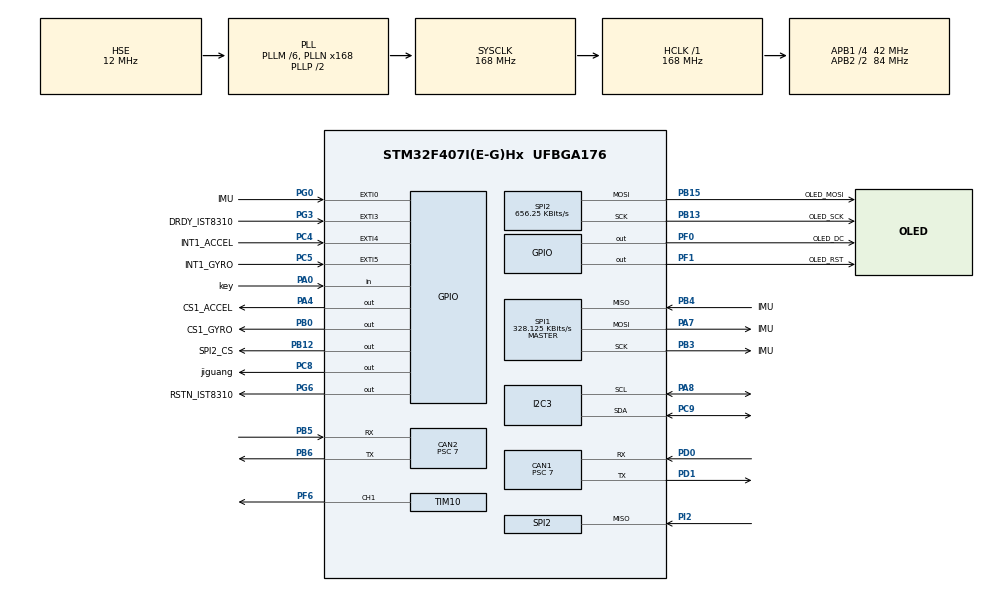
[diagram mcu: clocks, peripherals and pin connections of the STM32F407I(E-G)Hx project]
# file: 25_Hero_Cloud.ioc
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CAN1.ABOM=ENABLE
CAN1.AWUM=ENABLE
CAN1.BS1=CAN_BS1_3TQ
CAN1.BS2=CAN_BS2_2TQ
CAN1.CalculateBaudRate=999999
CAN1.CalculateTimeBit=1000
CAN1.CalculateTimeQuantum=166.66666666666669
CAN1.NART=ENABLE
CAN1.Prescaler=7
CAN2.ABOM=ENABLE
CAN2.AWUM=ENABLE
CAN2.BS1=CAN_BS1_3TQ
CAN2.BS2=CAN_BS2_2TQ
CAN2.CalculateBaudRate=999999
CAN2.CalculateTimeBit=1000
CAN2.CalculateTimeQuantum=166.66666666666669
CAN2.NART=ENABLE
CAN2.Prescaler=7
Dma.Request0=SPI1_RX
Dma.Request1=SPI1_TX
Dma.SPI1_RX.0.Direction=DMA_PERIPH_TO_MEMORY
Dma.SPI1_RX.0.FIFOMode=DMA_FIFOMODE_DISABLE
Dma.SPI1_RX.0.Instance=DMA2_Stream2
Dma.SPI1_RX.0.MemDataAlignment=DMA_MDATAALIGN_BYTE
Dma.SPI1_RX.0.MemInc=DMA_MINC_ENABLE
Dma.SPI1_RX.0.Mode=DMA_NORMAL
Dma.SPI1_RX.0.PeriphDataAlignment=DMA_PDATAALIGN_BYTE
Dma.SPI1_RX.0.PeriphInc=DMA_PINC_DISABLE
Dma.SPI1_RX.0.Priority=DMA_PRIORITY_LOW
Dma.SPI1_TX.1.Direction=DMA_MEMORY_TO_PERIPH
Dma.SPI1_TX.1.FIFOMode=DMA_FIFOMODE_DISABLE
Dma.SPI1_TX.1.Instance=DMA2_Stream3
Dma.SPI1_TX.1.MemDataAlignment=DMA_MDATAALIGN_BYTE
Dma.SPI1_TX.1.MemInc=DMA_MINC_ENABLE
Dma.SPI1_TX.1.Mode=DMA_NORMAL
Dma.SPI1_TX.1.PeriphDataAlignment=DMA_PDATAALIGN_BYTE
Dma.SPI1_TX.1.PeriphInc=DMA_PINC_DISABLE
Dma.SPI1_TX.1.Priority=DMA_PRIORITY_LOW
FREERTOS.INCLUDE_vTaskDelayUntil=1
FREERTOS.INCLUDE_xTaskGetCurrentTaskHandle=0
FREERTOS.INCLUDE_xTaskGetHandle=1
FREERTOS.Queues01=CAN1_Receive,64,Can_Export_Data_t,0,Dynamic,NULL,NULL;CAN2_Receive,64,Can_Export_Data_t,0,Dynamic,NULL,NULL
FREERTOS.Tasks01=All_Init,0,128,All_Init_Run,Default,NULL,Dynamic,NULL,NULL;CAN1_Task,2,256,CAN1_REC,As external,NULL,Dynamic,NULL,NULL;CAN2_Task,2,256,CAN2_REC,As external,NULL,Dynamic,NULL,NULL;IMU_Send_Task,2,128,IMU_Send,As external,NULL,Dynamic,NULL,NULL;Cali_Task,1,512,calibrate_task,As external,NULL,Dynamic,NULL,NULL;Imu_Task,3,1024,INS_task,As external,NULL,Dynamic,NULL,NULL;OLED_Task,-1,128,OLED_Show,As external,NULL,Dynamic,NULL,NULL;Check_Task,0,256,DEV_Check,As external,NULL,Dynamic,NULL,NULL;Robot_Ctrl_Task,3,512,Robot_Control,As external,NULL,Dynamic,NULL,NULL
FREERTOS.configTOTAL_HEAP_SIZE=23456
FREERTOS.configUSE_CO_ROUTINES=0
FREERTOS.configUSE_TIMERS=1
I2C3.I2C_Mode=I2C_Fast
Mcu.Family=STM32F4
Mcu.Name=STM32F407I(E-G)Hx
Mcu.Package=UFBGA176
NVIC.CAN1_RX0_IRQn=true\:5\:0\:false\:false\:true\:true\:true\:true\:true
NVIC.CAN2_RX0_IRQn=true\:5\:0\:false\:false\:true\:true\:true\:true\:true
NVIC.DMA2_Stream2_IRQn=true\:0\:0\:false\:false\:true\:false\:false\:true\:true
NVIC.DMA2_Stream3_IRQn=true\:5\:0\:false\:false\:true\:true\:false\:true\:true
NVIC.EXTI0_IRQn=true\:6\:0\:true\:false\:true\:false\:true\:true\:true
NVIC.EXTI3_IRQn=true\:5\:0\:true\:false\:true\:false\:true\:true\:true
NVIC.EXTI4_IRQn=true\:5\:0\:true\:false\:true\:false\:true\:true\:true
NVIC.EXTI9_5_IRQn=true\:5\:0\:true\:false\:true\:false\:true\:true\:true
NVIC.PriorityGroup=NVIC_PRIORITYGROUP_4
NVIC.TIM6_DAC_IRQn=true\:15\:0\:false\:false\:true\:false\:false\:true\:true
NVIC.TimeBase=TIM6_DAC_IRQn
NVIC.TimeBaseIP=TIM6
PA0-WKUP.GPIO_Label=key
PA0-WKUP.GPIO_PuPd=GPIO_PULLUP
PA0-WKUP.Signal=GPIO_Input
PA13.Mode=Serial_Wire
PA13.Signal=SYS_JTMS-SWDIO
PA14.Mode=Serial_Wire
PA14.Signal=SYS_JTCK-SWCLK
PA4.GPIO_Label=CS1_ACCEL
PA4.GPIO_PuPd=GPIO_PULLUP
PA4.GPIO_Speed=GPIO_SPEED_FREQ_VERY_HIGH
PA4.Signal=GPIO_Output
PA7.GPIO_Label=IMU
PA7.Mode=Full_Duplex_Master
PA7.Signal=SPI1_MOSI
PA8.Mode=I2C
PA8.Signal=I2C3_SCL
PB0.GPIO_Label=CS1_GYRO
PB0.GPIO_PuPd=GPIO_PULLUP
PB0.GPIO_Speed=GPIO_SPEED_FREQ_VERY_HIGH
PB0.Signal=GPIO_Output
PB12.GPIO_Label=SPI2_CS
PB12.GPIO_PuPd=GPIO_PULLUP
PB12.GPIO_Speed=GPIO_SPEED_FREQ_VERY_HIGH
PB12.Signal=GPIO_Output
PB13.GPIO_Label=OLED_SCK
PB13.Mode=Full_Duplex_Master
PB13.Signal=SPI2_SCK
PB15.GPIO_Label=OLED_MOSI
PB15.Mode=Full_Duplex_Master
PB15.Signal=SPI2_MOSI
PB3.GPIO_Label=IMU
PB3.Mode=Full_Duplex_Master
PB3.Signal=SPI1_SCK
PB4.GPIO_Label=IMU
PB4.Mode=Full_Duplex_Master
PB4.Signal=SPI1_MISO
PB5.Mode=CAN_Activate
PB5.Signal=CAN2_RX
PB6.Mode=CAN_Activate
PB6.Signal=CAN2_TX
PC4.GPIO_Label=INT1_ACCEL
PC4.GPIO_PuPd=GPIO_PULLUP
PC4.Signal=GPXTI4
PC5.GPIO_Label=INT1_GYRO
PC5.GPIO_PuPd=GPIO_PULLUP
PC5.Signal=GPXTI5
PC8.GPIO_Label=jiguang
PC8.GPIO_PuPd=GPIO_PULLUP
PC8.GPIO_Speed=GPIO_SPEED_FREQ_VERY_HIGH
PC8.Signal=GPIO_Output
PC9.Mode=I2C
PC9.Signal=I2C3_SDA
PD0.Mode=CAN_Activate
PD0.Signal=CAN1_RX
PD1.Mode=CAN_Activate
PD1.Signal=CAN1_TX
PF0.GPIO_Label=OLED_DC
PF0.GPIO_Speed=GPIO_SPEED_FREQ_VERY_HIGH
PF0.Signal=GPIO_Output
PF1.GPIO_Label=OLED_RST
PF1.Signal=GPIO_Output
PF6.GPIO_PuPd=GPIO_PULLUP
PF6.GPIO_Speed=GPIO_SPEED_FREQ_HIGH
PF6.Signal=S_TIM10_CH1
PG0.GPIO_Label=IMU
PG0.GPIO_PuPd=GPIO_PULLUP
PG0.Signal=GPXTI0
PG3.GPIO_Label=DRDY_IST8310
PG3.GPIO_PuPd=GPIO_PULLUP
PG3.Signal=GPXTI3
PG6.GPIO_Label=RSTN_IST8310
PG6.GPIO_PuPd=GPIO_PULLUP
PG6.GPIO_Speed=GPIO_SPEED_FREQ_VERY_HIGH
PG6.Signal=GPIO_Output
PH0-OSC_IN.Mode=HSE-External-Oscillator
PH0-OSC_IN.Signal=RCC_OSC_IN
PH1-OSC_OUT.Mode=HSE-External-Oscillator
PH1-OSC_OUT.Signal=RCC_OSC_OUT
PI2.Mode=Full_Duplex_Master
PI2.Signal=SPI2_MISO
ProjectManager.HeapSize=0x2000
ProjectManager.StackSize=0x2000
ProjectManager.TargetToolchain=MDK-ARM V5.32
RCC.48MHZClocksFreq_Value=84000000
RCC.AHBFreq_Value=168000000
RCC.APB1CLKDivider=RCC_HCLK_DIV4
RCC.APB1Freq_Value=42000000
RCC.APB1TimFreq_Value=84000000
RCC.APB2CLKDivider=RCC_HCLK_DIV2
RCC.APB2Freq_Value=84000000
RCC.APB2TimFreq_Value=168000000
RCC.CortexFreq_Value=168000000
RCC.HCLKFreq_Value=168000000
RCC.HSE_VALUE=12000000
RCC.HSI_VALUE=16000000
RCC.LSE_VALUE=32768
RCC.PLLM=6
RCC.PLLN=168
RCC.PLLSourceVirtual=RCC_PLLSOURCE_HSE
RCC.SYSCLKFreq_VALUE=168000000
RCC.SYSCLKSource=RCC_SYSCLKSOURCE_PLLCLK
RCC.VCOOutputFreq_Value=336000000
SH.S_TIM10_CH1.0=TIM10_CH1,PWM Generation1 CH1
SPI1.BaudRatePrescaler=SPI_BAUDRATEPRESCALER_256
SPI1.CLKPhase=SPI_PHASE_2EDGE
SPI1.CalculateBaudRate=328.125 KBits/s
SPI1.Direction=SPI_DIRECTION_2LINES
SPI1.Mode=SPI_MODE_MASTER
SPI1.VirtualType=VM_MASTER
SPI2.BaudRatePrescaler=SPI_BAUDRATEPRESCALER_64
SPI2.CalculateBaudRate=656.25 KBits/s
SPI2.Direction=SPI_DIRECTION_2LINES
SPI2.Mode=SPI_MODE_MASTER
SPI2.VirtualType=VM_MASTER
TIM10.Channel=TIM_CHANNEL_1
TIM10.Period=5000-1
VP_FREERTOS_VS_CMSIS_V1.Mode=CMSIS_V1
VP_SYS_VS_tim6.Mode=TIM6
VP_TIM10_VS_ClockSourceINT.Mode=Enable_Timer
board=custom

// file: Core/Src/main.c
/* USER CODE BEGIN Header */
/**
  ******************************************************************************
  * @file           : main.c
  * @brief          : Main program body
  ******************************************************************************
  * @attention
  *
  * Copyright (c) 2024 STMicroelectronics.
  * All rights reserved.
  *
  * This software is licensed under terms that can be found in the LICENSE file
  * in the root directory of this software component.
  * If no LICENSE file comes with this software, it is provided AS-IS.
  *
  ******************************************************************************
  */
/* USER CODE END Header */
#include "main.h"
#include "cmsis_os.h"
#include "can.h"
#include "dma.h"
#include "i2c.h"
#include "spi.h"
#include "tim.h"
#include "gpio.h"

void SystemClock_Config(void);
void MX_FREERTOS_Init(void);

int main(void)
{

  /* MCU Configuration--------------------------------------------------------*/

  /* Reset of all peripherals, Initializes the Flash interface and the Systick. */
  HAL_Init();

  /* Configure the system clock */
  SystemClock_Config();

  /* Initialize all configured peripherals */
  MX_GPIO_Init();
  MX_DMA_Init();
  MX_CAN1_Init();
  MX_CAN2_Init();
  MX_I2C3_Init();
  MX_SPI1_Init();
  MX_SPI2_Init();
  MX_TIM10_Init();

  /* Call init function for freertos objects (in freertos.c) */
  MX_FREERTOS_Init();

  /* Start scheduler */
  osKernelStart();
  /* We should never get here as control is now taken by the scheduler */
  /* Infinite loop */
  while (1)
  {

  }
}

void SystemClock_Config(void)
{
  RCC_OscInitTypeDef RCC_OscInitStruct = {0};
  RCC_ClkInitTypeDef RCC_ClkInitStruct = {0};

  /** Configure the main internal regulator output voltage
  */
  __HAL_RCC_PWR_CLK_ENABLE();
  __HAL_PWR_VOLTAGESCALING_CONFIG(PWR_REGULATOR_VOLTAGE_SCALE1);

  /** Initializes the RCC Oscillators according to the specified parameters
  * in the RCC_OscInitTypeDef structure.
  */
  RCC_OscInitStruct.OscillatorType = RCC_OSCILLATORTYPE_HSE;
  RCC_OscInitStruct.HSEState = RCC_HSE_ON;
  RCC_OscInitStruct.PLL.PLLState = RCC_PLL_ON;
  RCC_OscInitStruct.PLL.PLLSource = RCC_PLLSOURCE_HSE;
  RCC_OscInitStruct.PLL.PLLM = 6;
  RCC_OscInitStruct.PLL.PLLN = 168;
  RCC_OscInitStruct.PLL.PLLP = RCC_PLLP_DIV2;
  RCC_OscInitStruct.PLL.PLLQ = 4;
  if (HAL_RCC_OscConfig(&RCC_OscInitStruct) != HAL_OK)
  {
    Error_Handler();
  }

  /** Initializes the CPU, AHB and APB buses clocks
  */
  RCC_ClkInitStruct.ClockType = RCC_CLOCKTYPE_HCLK|RCC_CLOCKTYPE_SYSCLK
                              |RCC_CLOCKTYPE_PCLK1|RCC_CLOCKTYPE_PCLK2;
  RCC_ClkInitStruct.SYSCLKSource = RCC_SYSCLKSOURCE_PLLCLK;
  RCC_ClkInitStruct.AHBCLKDivider = RCC_SYSCLK_DIV1;
  RCC_ClkInitStruct.APB1CLKDivider = RCC_HCLK_DIV4;
  RCC_ClkInitStruct.APB2CLKDivider = RCC_HCLK_DIV2;

  if (HAL_RCC_ClockConfig(&RCC_ClkInitStruct, FLASH_LATENCY_5) != HAL_OK)
  {
    Error_Handler();
  }
}

void HAL_TIM_PeriodElapsedCallback(TIM_HandleTypeDef *htim)
{
  if (htim->Instance == TIM6) {
    HAL_IncTick();
  }
}

void Error_Handler(void)
{
  __disable_irq();
  while (1)
  {
  }
}

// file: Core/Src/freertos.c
/* USER CODE BEGIN Header */
/**
  ******************************************************************************
  * File Name          : freertos.c
  * Description        : Code for freertos applications
  ******************************************************************************
  * @attention
  *
  * Copyright (c) 2025 STMicroelectronics.
  * All rights reserved.
  *
  * This software is licensed under terms that can be found in the LICENSE file
  * in the root directory of this software component.
  * If no LICENSE file comes with this software, it is provided AS-IS.
  *
  ******************************************************************************
  */
/* USER CODE END Header */

#include "FreeRTOS.h"
#include "task.h"
#include "main.h"
#include "cmsis_os.h"

/* USER CODE BEGIN Includes */
#include "pid.h"
#include "dr16.h"
#include "M6020_motor.h"
#include "bsp_delay.h"
#include "bsp_can.h"
#include "INS_task.h"
#include "calibrate_task.h"
#include "IMU_Send_task.h"
#include "Task_CanMsg.h"
#include "Robot_control_task.h"
#include "Oled_Show_task.h"
#include "Task_Check.h"
/* USER CODE END Includes */

osThreadId All_InitHandle;
osThreadId CAN1_TaskHandle;
osThreadId CAN2_TaskHandle;
osThreadId IMU_Send_TaskHandle;
osThreadId Cali_TaskHandle;
osThreadId Imu_TaskHandle;
osThreadId OLED_TaskHandle;
osThreadId Check_TaskHandle;
osThreadId Robot_Ctrl_TaskHandle;
osMessageQId CAN1_ReceiveHandle;
osMessageQId CAN2_ReceiveHandle;

void All_Init_Run(void const * argument);
extern void CAN1_REC(void const * argument);
extern void CAN2_REC(void const * argument);
extern void IMU_Send(void const * argument);
extern void calibrate_task(void const * argument);
extern void INS_task(void const * argument);
extern void OLED_Show(void const * argument);
extern void DEV_Check(void const * argument);
extern void Robot_Control(void const * argument);

void MX_FREERTOS_Init(void); /* (MISRA C 2004 rule 8.1) */

/* GetIdleTaskMemory prototype (linked to static allocation support) */
void vApplicationGetIdleTaskMemory( StaticTask_t **ppxIdleTaskTCBBuffer, StackType_t **ppxIdleTaskStackBuffer, uint32_t *pulIdleTaskStackSize );

/* GetTimerTaskMemory prototype (linked to static allocation support) */
void vApplicationGetTimerTaskMemory( StaticTask_t **ppxTimerTaskTCBBuffer, StackType_t **ppxTimerTaskStackBuffer, uint32_t *pulTimerTaskStackSize );

/* USER CODE BEGIN GET_IDLE_TASK_MEMORY */
static StaticTask_t xIdleTaskTCBBuffer;
static StackType_t xIdleStack[configMINIMAL_STACK_SIZE];

void vApplicationGetIdleTaskMemory( StaticTask_t **ppxIdleTaskTCBBuffer, StackType_t **ppxIdleTaskStackBuffer, uint32_t *pulIdleTaskStackSize )
{
  *ppxIdleTaskTCBBuffer = &xIdleTaskTCBBuffer;
  *ppxIdleTaskStackBuffer = &xIdleStack[0];
  *pulIdleTaskStackSize = configMINIMAL_STACK_SIZE;
  /* place for user code */
}
/* USER CODE END GET_IDLE_TASK_MEMORY */

/* USER CODE BEGIN GET_TIMER_TASK_MEMORY */
static StaticTask_t xTimerTaskTCBBuffer;
static StackType_t xTimerStack[configTIMER_TASK_STACK_DEPTH];

void vApplicationGetTimerTaskMemory( StaticTask_t **ppxTimerTaskTCBBuffer, StackType_t **ppxTimerTaskStackBuffer, uint32_t *pulTimerTaskStackSize )
{
  *ppxTimerTaskTCBBuffer = &xTimerTaskTCBBuffer;
  *ppxTimerTaskStackBuffer = &xTimerStack[0];
  *pulTimerTaskStackSize = configTIMER_TASK_STACK_DEPTH;
  /* place for user code */
}
/* USER CODE END GET_TIMER_TASK_MEMORY */

void MX_FREERTOS_Init(void) {

  /* Create the queue(s) */
  /* definition and creation of CAN1_Receive */
  osMessageQDef(CAN1_Receive, 64, Can_Export_Data_t);
  CAN1_ReceiveHandle = osMessageCreate(osMessageQ(CAN1_Receive), NULL);

  /* definition and creation of CAN2_Receive */
  osMessageQDef(CAN2_Receive, 64, Can_Export_Data_t);
  CAN2_ReceiveHandle = osMessageCreate(osMessageQ(CAN2_Receive), NULL);

  /* Create the thread(s) */
  /* definition and creation of All_Init */
  osThreadDef(All_Init, All_Init_Run, osPriorityNormal, 0, 128);
  All_InitHandle = osThreadCreate(osThread(All_Init), NULL);

  /* definition and creation of CAN1_Task */
  osThreadDef(CAN1_Task, CAN1_REC, osPriorityHigh, 0, 256);
  CAN1_TaskHandle = osThreadCreate(osThread(CAN1_Task), NULL);

  /* definition and creation of CAN2_Task */
  osThreadDef(CAN2_Task, CAN2_REC, osPriorityHigh, 0, 256);
  CAN2_TaskHandle = osThreadCreate(osThread(CAN2_Task), NULL);

  /* definition and creation of IMU_Send_Task */
  osThreadDef(IMU_Send_Task, IMU_Send, osPriorityHigh, 0, 128);
  IMU_Send_TaskHandle = osThreadCreate(osThread(IMU_Send_Task), NULL);

  /* definition and creation of Cali_Task */
  osThreadDef(Cali_Task, calibrate_task, osPriorityAboveNormal, 0, 512);
  Cali_TaskHandle = osThreadCreate(osThread(Cali_Task), NULL);

  /* definition and creation of Imu_Task */
  osThreadDef(Imu_Task, INS_task, osPriorityRealtime, 0, 1024);
  Imu_TaskHandle = osThreadCreate(osThread(Imu_Task), NULL);

  /* definition and creation of OLED_Task */
  osThreadDef(OLED_Task, OLED_Show, osPriorityBelowNormal, 0, 128);
  OLED_TaskHandle = osThreadCreate(osThread(OLED_Task), NULL);

  /* definition and creation of Check_Task */
  osThreadDef(Check_Task, DEV_Check, osPriorityNormal, 0, 256);
  Check_TaskHandle = osThreadCreate(osThread(Check_Task), NULL);

  /* definition and creation of Robot_Ctrl_Task */
  osThreadDef(Robot_Ctrl_Task, Robot_Control, osPriorityRealtime, 0, 512);
  Robot_Ctrl_TaskHandle = osThreadCreate(osThread(Robot_Ctrl_Task), NULL);

}

void All_Init_Run(void const * argument)
{
  /* USER CODE BEGIN All_Init_Run */

	delay_init();
	cali_param_init();
	bsp_can_init();
	motor_pid_init();   //电机pid初始化

	taskEXIT_CRITICAL();   //退出临界区
	vTaskDelete(NULL);

  /* USER CODE END All_Init_Run */
}
